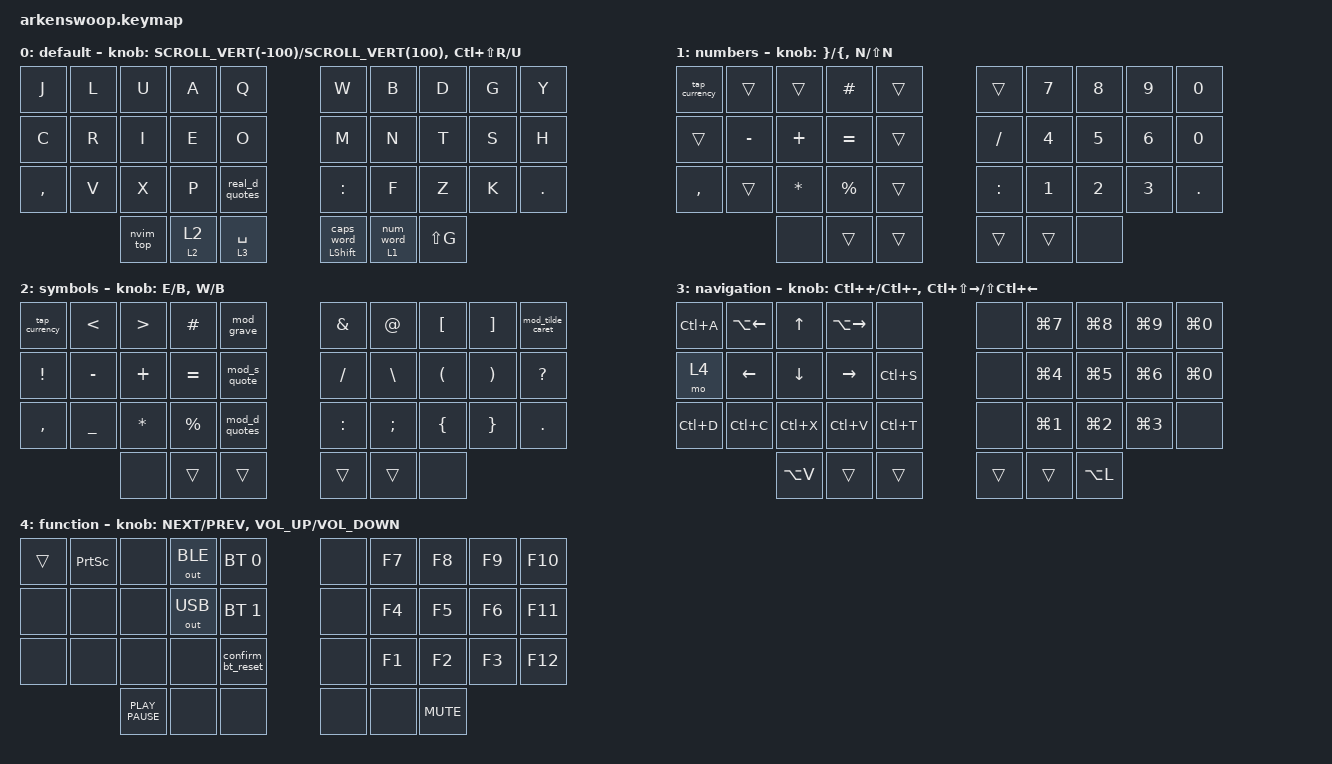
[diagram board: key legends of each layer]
/*
 * Copyright (c) 2020 The ZMK Contributors
 *
 * SPDX-License-Identifier: MIT
 */
/* 
 * Keymap visualization:
 * https://caksoylar.github.io/keymap-drawer?keymap_yaml=H4sIAAAAAAAC_8VWW3LaMBT9zypuSlslrcA8k-A-gZiExhAXTJ5NqQ0ieDC260cow9CPLqKr6Ba6maykAlsOJGRwm8yUGY8POkf3HknXdxSDckUUoVIDlejmELoa0Tsw1NweKHCl6B4BXesTGH8d9Ft9MlJNxe7w0CW2rTmcMyTEmqzFwLRhbNpuz2zpysj0XB7GjqVr9O3aHsFgm0OHhwyGtql7A4PiHAa35w1UCtOTaQiHEOi5ruXwHHdJ83tqom0OuLbSd8yRrtgczT5QrHjHVobE5lTdVLmBohncgXBaLUithiSUEoNOzDewFvhYA1h0rtIl0aXq1LtpWgHNTIuF08Om3JpZb2W-5VqZaRxiO9M4HdJVPH0WMg7nCCMMRxhEDCUMxxgOMOxj2MNQxpC48EVNDBUMBQwChkMMDQw1DHUMMobdQHKCQcJQxXCKAT2hMTkMZxiKGD5g-OiL4jCm5q5__qZ7NrLIdFMVw5lQDgIO2cQiikun93hwRgPV1Bf4hlQoCTPSUK4WJpYK0rE_TWzsV8ryAllrVgPSoEdF92GeXeYnkPGBbbpJKyZE4dBT3wO6_vELMSIRYTLaZunRTojyIUqiCLuL4kz_ko28eeiiUDb0kAvR1qqoK53GwlgvQvQsileOqVPhvHSIMg_1NfbHerSxTB6hGv6WC76GuyX5mq3wLVpVbOhLuB2fGXrFRs5D7gLNFecs2TqKUEaI_hh8HiKeoY3gvcmYd6xu0XcU6expX7l90u9DbhyiCUOfInadx-ciVwptY9ql4mqmwUcwKwplOYBNKQD1yt6-_NAPOWKD6RoRgu0eHtciyMTSxunmf2syNPvJ5g0uzeGjOXwWyeE_txupLhw9bj2t4mrCybRYup7Rni86qV6pyeFnfBvQuwQURWEufFH2m0vyprUwcXmbgR0G8gykkuHR3FnR8rTNRnFJ2tSStFkGcgxshWlTwV2HtsSFpyiDTRziBv_LKfqk6ZOZ4jS7tFSbsnA7XaQFLD8IehtUTdrH42DxcJ7KY0jnp6n6fNASdTocXNIumCpJVUmmWr9HRe-iqRwT8feIslSUZSK_Yy-o_gCtBRxTSgsAAA%3D%3D
 */

#include <behaviors.dtsi>
#include <dt-bindings/zmk/mouse.h>
#include <dt-bindings/zmk/bt.h>
#include <dt-bindings/zmk/keys.h>
#include <dt-bindings/zmk/outputs.h>

/ {
    behaviors {
        inc_dec_mwh: rotate_mouse_wheel {
            compatible = "zmk,behavior-sensor-rotate-var";
            label = "ENC_MOUSE_WHEEL";
            #sensor-binding-cells = <2>;
            bindings = <&mwh>, <&mwh>;
        };
        num_word: behavior_num_word {
            compatible = "zmk,behavior-caps-word";
            label = "NUM_WORD";
            #binding-cells = <0>;
            layers = <1>;
            continue-list = <TAB BACKSPACE DELETE DOT COMMA LPAR RPAR STAR PLUS MINUS SLASH COLON COMMA PERIOD POUND PERCENT>;
            ignore-numbers;
        };
        num_activate: num_activate {
            compatible = "zmk,behavior-hold-tap";
            label = "NUM_ACTIVATE";
            bindings = <&mo>, <&num_word>;

            #binding-cells = <2>;
            tapping-term-ms = <200>;
            global-quick-tap;
        };
        tap_currency: tap_currency {
            compatible = "zmk,behavior-tap-dance";
            label = "TAP_CURRENCY";
            #binding-cells = <0>;
            bindings = <&kp DOLLAR>, <&kp RA(NUMBER_5)>;
        };
        confirm_bt_reset: confirm_bt_reset {
            compatible = "zmk,behavior-tap-dance";
            label = "CONFIRM_BT_RESET";
            #binding-cells = <0>;
            bindings =
                <&none>,
                <&none>,
                <&none>,
                <&none>,
                <&none>,
                <&none>,
                <&none>,
                <&none>,
                <&none>,
                <&bt BT_CLR>;
        };
        mod_d_quotes: mod_d_quotes {
            compatible = "zmk,behavior-mod-morph";
            label = "MOD_D_QUOTES";
            bindings = <&real_d_quotes>, <&kp DOUBLE_QUOTES>;

            #binding-cells = <0>;
            mods = <(MOD_LALT)>;
        };
        mod_s_quote: mod_s_quote {
            compatible = "zmk,behavior-mod-morph";
            label = "MOD_S_QUOTE";
            bindings = <&real_s_quote>, <&kp SINGLE_QUOTE>;

            #binding-cells = <0>;
            mods = <(MOD_LALT)>;
        };
        mod_grave: mod_grave {
            compatible = "zmk,behavior-mod-morph";
            label = "MOD_GRAVE";
            bindings = <&real_grave>, <&kp GRAVE>;

            #binding-cells = <0>;
            mods = <(MOD_LALT)>;
        };
        mod_caret: mod_caret {
            compatible = "zmk,behavior-mod-morph";
            label = "MOD_CARET";
            bindings = <&real_caret>, <&kp CARET>;

            #binding-cells = <0>;
            mods = <(MOD_LALT)>;
        };
        mod_tilde: mod_tilde {
            compatible = "zmk,behavior-mod-morph";
            label = "MOD_TILDE";
            bindings = <&real_tilde>, <&kp TILDE>;

            #binding-cells = <0>;
            mods = <(MOD_LALT)>;
        };
        nav_activate: nav_activate {
            compatible = "zmk,behavior-hold-tap";
            label = "NAV_ACTIVATE";
            bindings = <&mo>, <&kp>;

            #binding-cells = <2>;
            tapping-term-ms = <200>;
        };
        shift_activate: shift_activate {
            compatible = "zmk,behavior-hold-tap";
            label = "SHIFT_ACTIVATE";
            bindings = <&kp>, <&caps_word>;

            #binding-cells = <2>;
            tapping-term-ms = <200>;
        };
        symbol_activate: symbol_activate {
            compatible = "zmk,behavior-hold-tap";
            label = "SYMBOL_ACTIVATE";
            bindings = <&mo>, <&sl>;

            #binding-cells = <2>;
            tapping-term-ms = <200>;
        };
        mod_tilde_caret: mod_tilde_caret {
            compatible = "zmk,behavior-mod-morph";
            label = "MOD_TILDE_CARET";
            bindings = <&mod_tilde>, <&mod_caret>;

            #binding-cells = <0>;
            mods = <(MOD_LSFT)>;
        };
    };

    combos {
        compatible = "zmk,combos";

        combo_a {
            bindings = <&umlaut_a>;
            key-positions = <13 3>;
            layers = <0>;
        };

        combo_o {
            bindings = <&umlaut_o>;
            key-positions = <13 14>;
            layers = <0>;
        };

        combo_u {
            bindings = <&umlaut_u>;
            key-positions = <13 2>;
            layers = <0>;
        };

        combo_s {
            bindings = <&umlaut_s>;
            key-positions = <13 18>;
            layers = <0>;
        };

        combo_ctrl_left {
            bindings = <&kp LCTRL>;
            key-positions = <13 23>;
            layers = <0 1 2 4 3>;
        };

        combo_ctrl_right {
            bindings = <&kp LCTRL>;
            key-positions = <16 26>;
            layers = <0 1 2 4 3>;
        };

        combo_alt_left {
            bindings = <&kp LALT>;
            key-positions = <12 22>;
            layers = <0 1 2 4 3>;
        };

        combo_alt_right {
            bindings = <&kp LALT>;
            key-positions = <17 27>;
            layers = <0 1 2 4 3>;
        };

        combo_meta_left {
            bindings = <&kp LMETA>;
            key-positions = <11 21>;
            layers = <0 1 2 4 3>;
        };

        combo_meta_right {
            bindings = <&kp LMETA>;
            key-positions = <18 28>;
            layers = <0 1 2 4 3>;
        };

        combo_enter {
            bindings = <&kp ENTER>;
            key-positions = <6 7 8>;
            timeout-ms = <85>;
            layers = <0 1 2 3 4>;
        };

        combo_tab {
            bindings = <&kp TAB>;
            key-positions = <1 2 3>;
            layers = <0 1 2 4>;
            timeout-ms = <85>;
        };

        combo_escape {
            bindings = <&kp ESCAPE>;
            key-positions = <0 1>;
            timeout-ms = <85>;
            layers = <0 1 2 3 4>;
        };

        combo_backspace {
            bindings = <&kp BACKSPACE>;
            key-positions = <16 17 18>;
            timeout-ms = <150>;
            layers = <0 1 2 4 3>;
        };

        combo_delete {
            bindings = <&kp DELETE>;
            key-positions = <21 22 23>;
            timeout-ms = <150>;
            layers = <0 1 2 4 3>;
        };

        combo_questionmark {
            bindings = <&kp QUESTION>;
            key-positions = <19 9>;
            layers = <0>;
        };

        combo_exclamationmark {
            bindings = <&kp EXCLAMATION>;
            key-positions = <0 10>;
            layers = <0>;
        };

        combo_colon {
            bindings = <&kp SLASH>;
            key-positions = <5 15>;
            layers = <0>;
        };

        combo_s_quote {
            bindings = <&real_s_quote>;
            key-positions = <4 14>;
            layers = <0>;
        };

        combo_paren_left {
            bindings = <&kp LEFT_PARENTHESIS>;
            key-positions = <20 21 22>;
            layers = <0 1 2>;
            timeout-ms = <85>;
        };

        combo_paren_right {
            bindings = <&kp RIGHT_PARENTHESIS>;
            key-positions = <27 28 29>;
            layers = <0 1 2>;
            timeout-ms = <85>;
        };

        combo_pipe {
            bindings = <&kp PIPE>;
            key-positions = <15 16>;
            layers = <2>;
        };

        combo_shift_tab {
            bindings = <&kp LS(TAB)>;
            key-positions = <1 2 3>;
            timeout-ms = <85>;
            layers = <3>;
        };
    };

    macros {
        umlaut_a: umlaut_a {
            compatible = "zmk,behavior-macro";
            label = "UMLAUT_A";
            #binding-cells = <0>;
            bindings = <&kp DQT &kp A>;
        };
        umlaut_o: umlaut_o {
            compatible = "zmk,behavior-macro";
            label = "UMLAUT_O";
            #binding-cells = <0>;
            bindings = <&kp DQT &kp O>;
        };
        umlaut_u: umlaut_u {
            compatible = "zmk,behavior-macro";
            label = "UMLAUT_U";
            #binding-cells = <0>;
            bindings = <&kp DQT &kp U>;
        };
        umlaut_s: umlaut_s {
            compatible = "zmk,behavior-macro";
            label = "UMLAUT_S";
            #binding-cells = <0>;
            bindings = <&kp RIGHT_ALT &kp RA(S)>;
        };
        real_d_quotes: real_d_quotes {
            compatible = "zmk,behavior-macro";
            label = "REAL_D_QUOTES";
            #binding-cells = <0>;
            bindings = <&kp DQT &kp SPACE>;
        };
        real_s_quote: real_s_quote {
            compatible = "zmk,behavior-macro";
            label = "REAL_S_QUOTE";
            #binding-cells = <0>;
            bindings = <&kp SQT &kp SPACE>;
        };
        real_grave: real_grave {
            compatible = "zmk,behavior-macro";
            label = "REAL_GRAVE";
            #binding-cells = <0>;
            bindings = <&kp GRAVE &kp SPACE>;
        };
        real_caret: real_caret {
            compatible = "zmk,behavior-macro";
            label = "REAL_CARET";
            #binding-cells = <0>;
            bindings = <&kp CARET &kp SPACE>;
        };
        real_tilde: real_tilde {
            compatible = "zmk,behavior-macro";
            label = "REAL_TILDE";
            #binding-cells = <0>;
            bindings = <&kp TILDE &kp SPACE>;
        };
        nvim_top: nvim_top {
            compatible = "zmk,behavior-macro";
            #binding-cells = <0>;
            bindings = <&kp NUMBER_1 &kp LS(G)>;
            label = "NVIM_TOP";
        };
    };

    keymap {
        compatible = "zmk,keymap";

        default {
            bindings = <
&kp J      &kp L  &kp U      &kp A                 &kp Q                  &kp W                     &kp B              &kp D      &kp G  &kp Y
&kp C      &kp R  &kp I      &kp E                 &kp O                  &kp M                     &kp N              &kp T      &kp S  &kp H
&kp COMMA  &kp V  &kp X      &kp P                 &real_d_quotes         &kp COLON                 &kp F              &kp Z      &kp K  &kp PERIOD
                  &nvim_top  &symbol_activate 2 2  &nav_activate 3 SPACE  &shift_activate LSHIFT 0  &num_activate 1 0  &kp LS(G)
            >;

            sensor-bindings =
                <&inc_dec_mwh SCROLL_VERT(-100) SCROLL_VERT(100)>,
                <&inc_dec_kp LC(LS(R)) U>;
        };

        numbers {
            bindings = <
&tap_currency  &trans     &trans        &kp POUND    &trans  &trans     &kp N7  &kp N8  &kp N9  &kp N0
&trans         &kp MINUS  &kp PLUS      &kp EQUAL    &trans  &kp SLASH  &kp N4  &kp N5  &kp N6  &kp NUMBER_0
&kp COMMA      &trans     &kp ASTERISK  &kp PERCENT  &trans  &kp COLON  &kp N1  &kp N2  &kp N3  &kp PERIOD
                          &none         &trans       &trans  &trans     &trans  &none
            >;

            sensor-bindings =
                <&inc_dec_kp RIGHT_BRACE LEFT_BRACE>,
                <&inc_dec_kp N LS(N)>;
        };

        symbols {
            bindings = <
&tap_currency  &kp LESS_THAN  &kp GREATER_THAN  &kp POUND    &mod_grave     &kp AMPERSAND  &kp AT         &kp LEFT_BRACKET      &kp RIGHT_BRACKET      &mod_tilde_caret
&kp EXCL       &kp MINUS      &kp PLUS          &kp EQUAL    &mod_s_quote   &kp SLASH      &kp BACKSLASH  &kp LEFT_PARENTHESIS  &kp RIGHT_PARENTHESIS  &kp QUESTION
&kp COMMA      &kp UNDER      &kp ASTERISK      &kp PERCENT  &mod_d_quotes  &kp COLON      &kp SEMICOLON  &kp LEFT_BRACE        &kp RIGHT_BRACE        &kp PERIOD
                              &none             &trans       &trans         &trans         &trans         &none
            >;

            sensor-bindings = <&inc_dec_kp E B>, <&inc_dec_kp W B>;
        };

        navigation {
            bindings = <
&kp LC(A)  &kp LA(LEFT)  &kp UP     &kp LA(RIGHT)  &none      &none   &kp LG(N7)  &kp LG(N8)  &kp LG(N9)  &kp LG(N0)
&mo 4      &kp LEFT      &kp DOWN   &kp RIGHT      &kp LC(S)  &none   &kp LG(N4)  &kp LG(N5)  &kp LG(N6)  &kp LG(N0)
&kp LC(D)  &kp LC(C)     &kp LC(X)  &kp LC(V)      &kp LC(T)  &none   &kp LG(N1)  &kp LG(N2)  &kp LG(N3)  &none
                         &kp LA(V)  &trans         &trans     &trans  &trans      &kp LA(L)
            >;

            sensor-bindings =
                <&inc_dec_kp LC(PLUS) LC(MINUS)>,
                <&inc_dec_kp LC(LS(RIGHT)) LS(LC(LEFT_ARROW))>;
        };

        function {
            bindings = <
&trans  &kp PRINTSCREEN  &none             &out OUT_BLE  &bt BT_SEL 0       &none  &kp F7  &kp F8      &kp F9  &kp F10
&none   &none            &none             &out OUT_USB  &bt BT_SEL 1       &none  &kp F4  &kp F5      &kp F6  &kp F11
&none   &none            &none             &none         &confirm_bt_reset  &none  &kp F1  &kp F2      &kp F3  &kp F12
                         &kp K_PLAY_PAUSE  &none         &none              &none  &none   &kp K_MUTE
            >;

            sensor-bindings =
                <&inc_dec_kp K_NEXT K_PREV>,
                <&inc_dec_kp K_VOLUME_UP K_VOLUME_DOWN>;
        };
    };
};

&mwh {
    delay-ms = <0>;
    acceleration-exponent = <1>;
    time-to-max-speed-ms = <0>;
};
